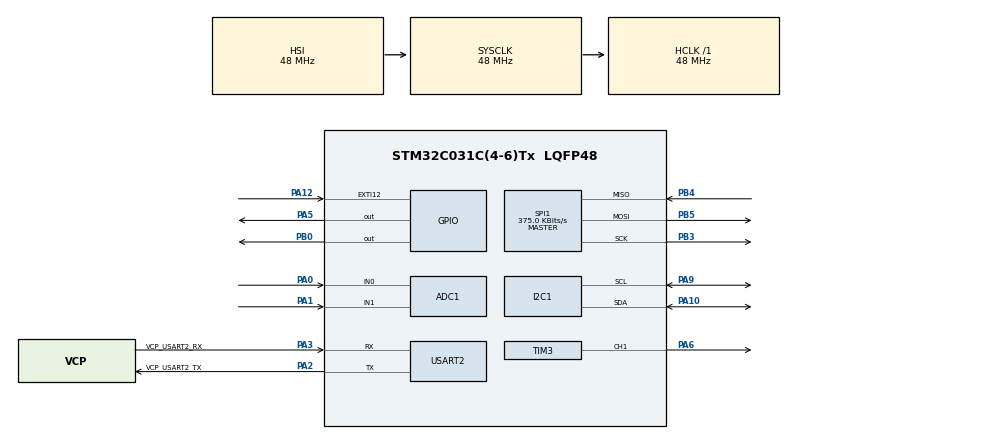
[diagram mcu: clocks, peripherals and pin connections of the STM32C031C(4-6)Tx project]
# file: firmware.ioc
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ADC1.Channel-0\#ChannelRegularConversion=ADC_CHANNEL_0
ADC1.NbrOfConversionFlag=1
ADC1.OffsetNumber-0\#ChannelRegularConversion=ADC_OFFSET_NONE
ADC1.Rank-0\#ChannelRegularConversion=1
ADC1.SamplingTime-0\#ChannelRegularConversion=ADC_SAMPLINGTIME_COMMON_1
ADC1.SelectedChannel=ADC_CHANNEL_0|ADC_CHANNEL_1
ADC1.Sequencer=FULLY_CONFIGURABLE
ADC1.master=1
I2C1.Timing=0x10805D88
Mcu.Family=STM32C0
Mcu.Name=STM32C031C(4-6)Tx
Mcu.Package=LQFP48
NVIC.EXTI4_15_IRQn=true\:0\:0\:false\:false\:true\:true\:true\:true
PA0.Mode=IN0
PA0.Signal=ADC1_IN0
PA1.Mode=IN1
PA1.Signal=ADC1_IN1
PA10.Mode=I2C
PA10.Signal=I2C1_SDA
PA12\ [PA10].GPIO_ModeDefaultEXTI=GPIO_MODE_IT_FALLING
PA12\ [PA10].GPIO_PuPd=GPIO_PULLUP
PA12\ [PA10].Signal=GPXTI12
PA13.GPIO_Label=DEBUG_SWDIO
PA13.Signal=DEBUG_SWDIO
PA14-BOOT0.GPIO_Label=DEBUG_SWCLK
PA14-BOOT0.Signal=DEBUG_SWCLK
PA2.GPIO_Label=VCP_USART2_TX
PA2.Mode=Asynchronous
PA2.Signal=USART2_TX
PA3.GPIO_Label=VCP_USART2_RX
PA3.Mode=Asynchronous
PA3.Signal=USART2_RX
PA5.Signal=GPIO_Output
PA6.Signal=S_TIM3_CH1
PA9.Mode=I2C
PA9.Signal=I2C1_SCL
PB0.PinState=GPIO_PIN_SET
PB0.Signal=GPIO_Output
PB3.Mode=Full_Duplex_Master
PB3.Signal=SPI1_SCK
PB4.Mode=Full_Duplex_Master
PB4.Signal=SPI1_MISO
PB5.Mode=Full_Duplex_Master
PB5.Signal=SPI1_MOSI
ProjectManager.HeapSize=0x200
ProjectManager.StackSize=0x400
ProjectManager.TargetToolchain=Makefile
RCC.ADCFreq_Value=48000000
RCC.AHBFreq_Value=48000000
RCC.CortexFreq_Value=48000000
RCC.EXTERNAL_CLOCK_VALUE=12288000
RCC.HCLKFreq_Value=48000000
RCC.HSE_VALUE=48000000
RCC.HSISYSCLKDivider=RCC_HSI_DIV1
RCC.HSI_VALUE=48000000
RCC.LSE_VALUE=32768
RCC.SYSCLKFreq_VALUE=48000000
SH.S_TIM3_CH1.0=TIM3_CH1,PWM Generation1 CH1
SPI1.BaudRatePrescaler=SPI_BAUDRATEPRESCALER_128
SPI1.CalculateBaudRate=375.0 KBits/s
SPI1.Direction=SPI_DIRECTION_2LINES
SPI1.Mode=SPI_MODE_MASTER
SPI1.NSSPMode=SPI_NSS_PULSE_DISABLE
SPI1.VirtualType=VM_MASTER
TIM3.Channel-PWM\ Generation1\ CH1=TIM_CHANNEL_1
TIM3.Period=249
TIM3.Prescaler=47
TIM3.Pulse-PWM\ Generation1\ CH1=125
USART2.VirtualMode-Asynchronous=VM_ASYNC
board=NUCLEO-C031C6

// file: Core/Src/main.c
/* USER CODE BEGIN Header */
/**
  ******************************************************************************
  * @file           : main.c
  * @brief          : Main program body
  ******************************************************************************
  * @attention
  *
  * Copyright (c) 2026 STMicroelectronics.
  * All rights reserved.
  *
  * This software is licensed under terms that can be found in the LICENSE file
  * in the root directory of this software component.
  * If no LICENSE file comes with this software, it is provided AS-IS.
  *
  ******************************************************************************
  */
/* USER CODE END Header */
#include "main.h"

/* USER CODE BEGIN Includes */
#include <stdio.h>
/* USER CODE END Includes */

/* USER CODE BEGIN PD */
#define LED_PORT        GPIOA
#define LED_PIN         GPIO_PIN_5
#define BTN_PORT        GPIOA
#define BTN_PIN         GPIO_PIN_12
#define BTN_SETTLE_MS   50U
#define SD_CS_PORT      GPIOB
#define SD_CS_PIN       GPIO_PIN_0
#define I2C_TIMEOUT_MS  20U
/* USER CODE END PD */

ADC_HandleTypeDef hadc1;

I2C_HandleTypeDef hi2c1;

SPI_HandleTypeDef hspi1;

TIM_HandleTypeDef htim3;

UART_HandleTypeDef huart2;

/* USER CODE BEGIN PV */
static volatile uint8_t  button_flag;
static volatile uint32_t button_last_ms;
/* USER CODE END PV */

void SystemClock_Config(void);
static void MX_GPIO_Init(void);
static void MX_ADC1_Init(void);
static void MX_I2C1_Init(void);
static void MX_SPI1_Init(void);
static void MX_TIM3_Init(void);
static void MX_USART2_UART_Init(void);

/* USER CODE BEGIN 0 */
int _write(int file, char *ptr, int len)
{
  (void)file;
  HAL_UART_Transmit(&huart2, (uint8_t *)ptr, (uint16_t)len, HAL_MAX_DELAY);
  return len;
}

static void print_status(const char *name, int ready)
{
  printf("%-6s %s\r\n", name, ready ? "HAL_OK" : "FAIL");
}

static void i2c_reset(void)
{
  HAL_I2C_DeInit(&hi2c1);
  MX_I2C1_Init();
}

static void i2c_settle(void)
{
  for (volatile uint32_t i = 0; i < 1500U; i++) { __NOP(); }
}

static int i2c_wait(uint32_t flag)
{
  uint32_t t0 = HAL_GetTick();
  while ((I2C1->ISR & flag) == 0U)
  {
    if (I2C1->ISR & I2C_ISR_NACKF)
    {
      I2C1->ICR = I2C_ICR_NACKCF | I2C_ICR_STOPCF;
      return 0;
    }
    if ((HAL_GetTick() - t0) > I2C_TIMEOUT_MS) { return 0; }
  }
  return 1;
}

static int i2c_write(uint16_t addr, const uint8_t *data, uint8_t n)
{
  I2C1->ICR = I2C_ICR_NACKCF | I2C_ICR_STOPCF;
  I2C1->ISR = I2C_ISR_TXE;
  I2C1->CR2 = ((uint32_t)addr & 0xFEU) | ((uint32_t)n << I2C_CR2_NBYTES_Pos)
              | I2C_CR2_AUTOEND | I2C_CR2_START;

  for (uint8_t i = 0; i < n; i++)
  {
    if (!i2c_wait(I2C_ISR_TXIS)) { i2c_reset(); return 0; }
    i2c_settle();
    I2C1->TXDR = data[i];
  }
  if (!i2c_wait(I2C_ISR_STOPF)) { i2c_reset(); return 0; }
  I2C1->ICR = I2C_ICR_STOPCF;
  return 1;
}

static void i2c_scan(void)
{
  uint8_t zero = 0x00;

  printf("i2c scan:");
  for (uint8_t a = 8; a < 120; a++)
  {
    if (i2c_write((uint16_t)(a << 1), &zero, 1)) { printf(" 0x%02X", a); }
  }
  printf("\r\n");
}

static void spi_ping(void)
{
  uint8_t tx[8], rx[8];

  for (uint8_t i = 0; i < sizeof tx; i++) { tx[i] = 0xFF; }

  HAL_GPIO_WritePin(SD_CS_PORT, SD_CS_PIN, GPIO_PIN_RESET);
  HAL_StatusTypeDef st = HAL_SPI_TransmitReceive(&hspi1, tx, rx, sizeof tx, 50);
  HAL_GPIO_WritePin(SD_CS_PORT, SD_CS_PIN, GPIO_PIN_SET);

  printf("spi ping: %s\r\n", st == HAL_OK ? "ok" : "fail");
}

static uint16_t adc_read(uint32_t channel)
{
  ADC_ChannelConfTypeDef ch = {0};
  uint16_t value = 0;

  ch.Channel      = channel;
  ch.Rank         = ADC_REGULAR_RANK_1;
  ch.SamplingTime = ADC_SAMPLINGTIME_COMMON_1;
  if (HAL_ADC_ConfigChannel(&hadc1, &ch) != HAL_OK) { return 0; }

  if (HAL_ADC_Start(&hadc1) != HAL_OK) { return 0; }
  if (HAL_ADC_PollForConversion(&hadc1, 10) == HAL_OK)
  {
    value = (uint16_t)HAL_ADC_GetValue(&hadc1);
  }
  HAL_ADC_Stop(&hadc1);
  return value;
}
/* USER CODE END 0 */

int main(void)
{

  /* MCU Configuration--------------------------------------------------------*/

  /* Reset of all peripherals, Initializes the Flash interface and the Systick. */
  HAL_Init();

  /* Configure the system clock */
  SystemClock_Config();

  /* Initialize all configured peripherals */
  MX_GPIO_Init();
  MX_ADC1_Init();
  MX_I2C1_Init();
  MX_SPI1_Init();
  MX_TIM3_Init();
  MX_USART2_UART_Init();
  /* USER CODE BEGIN 2 */
  printf("\r\nNUCLEO-C031C6, SYSCLK %lu Hz\r\n", (unsigned long)SystemCoreClock);
  print_status("USART2", HAL_UART_GetState(&huart2) == HAL_UART_STATE_READY);
  print_status("I2C1",   HAL_I2C_GetState(&hi2c1) == HAL_I2C_STATE_READY);
  print_status("SPI1",   HAL_SPI_GetState(&hspi1) == HAL_SPI_STATE_READY);
  print_status("ADC1",   (HAL_ADC_GetState(&hadc1) & HAL_ADC_STATE_READY) != 0U);
  print_status("TIM3",   HAL_TIM_PWM_GetState(&htim3) == HAL_TIM_STATE_READY);

  printf("hello from STM32\r\n");
  i2c_scan();
  spi_ping();

  uint32_t tick = 0;
  uint32_t next = HAL_GetTick();
  /* USER CODE END 2 */

  /* Infinite loop */
  while (1)
  {

    /* USER CODE BEGIN 3 */
    if (button_flag && HAL_GetTick() - button_last_ms >= BTN_SETTLE_MS)
    {
      button_flag = 0;
      if (HAL_GPIO_ReadPin(BTN_PORT, BTN_PIN) == GPIO_PIN_RESET)
      {
        printf("button pressed\r\n");
      }
    }

    if ((int32_t)(HAL_GetTick() - next) >= 0)
    {
      next += 1000;
      tick++;

      HAL_GPIO_TogglePin(LED_PORT, LED_PIN);
      printf("tick %lu  adc0=%u adc1=%u led=%s\r\n",
             (unsigned long)tick, adc_read(ADC_CHANNEL_0), adc_read(ADC_CHANNEL_1),
             HAL_GPIO_ReadPin(LED_PORT, LED_PIN) ? "on" : "off");

      if ((tick % 5U) == 0U)
      {
        i2c_scan();
        spi_ping();
      }
    }
  }
  /* USER CODE END 3 */
}

void SystemClock_Config(void)
{
  RCC_OscInitTypeDef RCC_OscInitStruct = {0};
  RCC_ClkInitTypeDef RCC_ClkInitStruct = {0};

  __HAL_FLASH_SET_LATENCY(FLASH_LATENCY_1);

  /** Initializes the RCC Oscillators according to the specified parameters
  * in the RCC_OscInitTypeDef structure.
  */
  RCC_OscInitStruct.OscillatorType = RCC_OSCILLATORTYPE_HSI;
  RCC_OscInitStruct.HSIState = RCC_HSI_ON;
  RCC_OscInitStruct.HSIDiv = RCC_HSI_DIV1;
  RCC_OscInitStruct.HSICalibrationValue = RCC_HSICALIBRATION_DEFAULT;
  if (HAL_RCC_OscConfig(&RCC_OscInitStruct) != HAL_OK)
  {
    Error_Handler();
  }

  /** Initializes the CPU, AHB and APB buses clocks
  */
  RCC_ClkInitStruct.ClockType = RCC_CLOCKTYPE_HCLK|RCC_CLOCKTYPE_SYSCLK
                              |RCC_CLOCKTYPE_PCLK1;
  RCC_ClkInitStruct.SYSCLKSource = RCC_SYSCLKSOURCE_HSI;
  RCC_ClkInitStruct.SYSCLKDivider = RCC_SYSCLK_DIV1;
  RCC_ClkInitStruct.AHBCLKDivider = RCC_HCLK_DIV1;
  RCC_ClkInitStruct.APB1CLKDivider = RCC_APB1_DIV1;

  if (HAL_RCC_ClockConfig(&RCC_ClkInitStruct, FLASH_LATENCY_1) != HAL_OK)
  {
    Error_Handler();
  }
}

static void MX_ADC1_Init(void)
{

  ADC_ChannelConfTypeDef sConfig = {0};

  /** Configure the global features of the ADC (Clock, Resolution, Data Alignment and number of conversion)
  */
  hadc1.Instance = ADC1;
  hadc1.Init.ClockPrescaler = ADC_CLOCK_SYNC_PCLK_DIV2;
  hadc1.Init.Resolution = ADC_RESOLUTION_12B;
  hadc1.Init.DataAlign = ADC_DATAALIGN_RIGHT;
  hadc1.Init.ScanConvMode = ADC_SCAN_DISABLE;
  hadc1.Init.EOCSelection = ADC_EOC_SINGLE_CONV;
  hadc1.Init.LowPowerAutoWait = DISABLE;
  hadc1.Init.LowPowerAutoPowerOff = DISABLE;
  hadc1.Init.ContinuousConvMode = DISABLE;
  hadc1.Init.NbrOfConversion = 1;
  hadc1.Init.DiscontinuousConvMode = DISABLE;
  hadc1.Init.ExternalTrigConv = ADC_SOFTWARE_START;
  hadc1.Init.ExternalTrigConvEdge = ADC_EXTERNALTRIGCONVEDGE_NONE;
  hadc1.Init.DMAContinuousRequests = DISABLE;
  hadc1.Init.Overrun = ADC_OVR_DATA_PRESERVED;
  hadc1.Init.SamplingTimeCommon1 = ADC_SAMPLETIME_1CYCLE_5;
  hadc1.Init.SamplingTimeCommon2 = ADC_SAMPLETIME_1CYCLE_5;
  hadc1.Init.OversamplingMode = DISABLE;
  hadc1.Init.TriggerFrequencyMode = ADC_TRIGGER_FREQ_HIGH;
  if (HAL_ADC_Init(&hadc1) != HAL_OK)
  {
    Error_Handler();
  }

  /** Configure Regular Channel
  */
  sConfig.Channel = ADC_CHANNEL_0;
  sConfig.Rank = ADC_REGULAR_RANK_1;
  sConfig.SamplingTime = ADC_SAMPLINGTIME_COMMON_1;
  if (HAL_ADC_ConfigChannel(&hadc1, &sConfig) != HAL_OK)
  {
    Error_Handler();
  }

}

static void MX_I2C1_Init(void)
{

  hi2c1.Instance = I2C1;
  hi2c1.Init.Timing = 0x10805D88;
  hi2c1.Init.OwnAddress1 = 0;
  hi2c1.Init.AddressingMode = I2C_ADDRESSINGMODE_7BIT;
  hi2c1.Init.DualAddressMode = I2C_DUALADDRESS_DISABLE;
  hi2c1.Init.OwnAddress2 = 0;
  hi2c1.Init.OwnAddress2Masks = I2C_OA2_NOMASK;
  hi2c1.Init.GeneralCallMode = I2C_GENERALCALL_DISABLE;
  hi2c1.Init.NoStretchMode = I2C_NOSTRETCH_DISABLE;
  if (HAL_I2C_Init(&hi2c1) != HAL_OK)
  {
    Error_Handler();
  }

  /** Configure Analogue filter
  */
  if (HAL_I2CEx_ConfigAnalogFilter(&hi2c1, I2C_ANALOGFILTER_ENABLE) != HAL_OK)
  {
    Error_Handler();
  }

  /** Configure Digital filter
  */
  if (HAL_I2CEx_ConfigDigitalFilter(&hi2c1, 0) != HAL_OK)
  {
    Error_Handler();
  }

}

static void MX_SPI1_Init(void)
{

  /* SPI1 parameter configuration*/
  hspi1.Instance = SPI1;
  hspi1.Init.Mode = SPI_MODE_MASTER;
  hspi1.Init.Direction = SPI_DIRECTION_2LINES;
  hspi1.Init.DataSize = SPI_DATASIZE_8BIT;
  hspi1.Init.CLKPolarity = SPI_POLARITY_LOW;
  hspi1.Init.CLKPhase = SPI_PHASE_1EDGE;
  hspi1.Init.NSS = SPI_NSS_SOFT;
  hspi1.Init.BaudRatePrescaler = SPI_BAUDRATEPRESCALER_128;
  hspi1.Init.FirstBit = SPI_FIRSTBIT_MSB;
  hspi1.Init.TIMode = SPI_TIMODE_DISABLE;
  hspi1.Init.CRCCalculation = SPI_CRCCALCULATION_DISABLE;
  hspi1.Init.CRCPolynomial = 7;
  hspi1.Init.CRCLength = SPI_CRC_LENGTH_DATASIZE;
  hspi1.Init.NSSPMode = SPI_NSS_PULSE_DISABLE;
  if (HAL_SPI_Init(&hspi1) != HAL_OK)
  {
    Error_Handler();
  }

}

static void MX_TIM3_Init(void)
{

  TIM_MasterConfigTypeDef sMasterConfig = {0};
  TIM_OC_InitTypeDef sConfigOC = {0};

  htim3.Instance = TIM3;
  htim3.Init.Prescaler = 47;
  htim3.Init.CounterMode = TIM_COUNTERMODE_UP;
  htim3.Init.Period = 249;
  htim3.Init.ClockDivision = TIM_CLOCKDIVISION_DIV1;
  htim3.Init.AutoReloadPreload = TIM_AUTORELOAD_PRELOAD_DISABLE;
  if (HAL_TIM_PWM_Init(&htim3) != HAL_OK)
  {
    Error_Handler();
  }
  sMasterConfig.MasterOutputTrigger = TIM_TRGO_RESET;
  sMasterConfig.MasterSlaveMode = TIM_MASTERSLAVEMODE_DISABLE;
  if (HAL_TIMEx_MasterConfigSynchronization(&htim3, &sMasterConfig) != HAL_OK)
  {
    Error_Handler();
  }
  sConfigOC.OCMode = TIM_OCMODE_PWM1;
  sConfigOC.Pulse = 125;
  sConfigOC.OCPolarity = TIM_OCPOLARITY_HIGH;
  sConfigOC.OCFastMode = TIM_OCFAST_DISABLE;
  if (HAL_TIM_PWM_ConfigChannel(&htim3, &sConfigOC, TIM_CHANNEL_1) != HAL_OK)
  {
    Error_Handler();
  }
  HAL_TIM_MspPostInit(&htim3);

}

static void MX_USART2_UART_Init(void)
{

  huart2.Instance = USART2;
  huart2.Init.BaudRate = 115200;
  huart2.Init.WordLength = UART_WORDLENGTH_8B;
  huart2.Init.StopBits = UART_STOPBITS_1;
  huart2.Init.Parity = UART_PARITY_NONE;
  huart2.Init.Mode = UART_MODE_TX_RX;
  huart2.Init.HwFlowCtl = UART_HWCONTROL_NONE;
  huart2.Init.OverSampling = UART_OVERSAMPLING_16;
  huart2.Init.OneBitSampling = UART_ONE_BIT_SAMPLE_DISABLE;
  huart2.Init.ClockPrescaler = UART_PRESCALER_DIV1;
  huart2.AdvancedInit.AdvFeatureInit = UART_ADVFEATURE_NO_INIT;
  if (HAL_UART_Init(&huart2) != HAL_OK)
  {
    Error_Handler();
  }

}

static void MX_GPIO_Init(void)
{
  GPIO_InitTypeDef GPIO_InitStruct = {0};

  /* GPIO Ports Clock Enable */
  __HAL_RCC_GPIOA_CLK_ENABLE();
  __HAL_RCC_GPIOB_CLK_ENABLE();

  /*Configure GPIO pin Output Level */
  HAL_GPIO_WritePin(GPIOA, GPIO_PIN_5, GPIO_PIN_RESET);

  /*Configure GPIO pin Output Level */
  HAL_GPIO_WritePin(GPIOB, GPIO_PIN_0, GPIO_PIN_SET);

  /*Configure GPIO pin : PA5 */
  GPIO_InitStruct.Pin = GPIO_PIN_5;
  GPIO_InitStruct.Mode = GPIO_MODE_OUTPUT_PP;
  GPIO_InitStruct.Pull = GPIO_NOPULL;
  GPIO_InitStruct.Speed = GPIO_SPEED_FREQ_LOW;
  HAL_GPIO_Init(GPIOA, &GPIO_InitStruct);

  /*Configure GPIO pin : PB0 */
  GPIO_InitStruct.Pin = GPIO_PIN_0;
  GPIO_InitStruct.Mode = GPIO_MODE_OUTPUT_PP;
  GPIO_InitStruct.Pull = GPIO_NOPULL;
  GPIO_InitStruct.Speed = GPIO_SPEED_FREQ_LOW;
  HAL_GPIO_Init(GPIOB, &GPIO_InitStruct);

  /*Configure GPIO pin : PA12 */
  GPIO_InitStruct.Pin = GPIO_PIN_12;
  GPIO_InitStruct.Mode = GPIO_MODE_IT_FALLING;
  GPIO_InitStruct.Pull = GPIO_PULLUP;
  HAL_GPIO_Init(GPIOA, &GPIO_InitStruct);

  /* EXTI interrupt init*/
  HAL_NVIC_SetPriority(EXTI4_15_IRQn, 0, 0);
  HAL_NVIC_EnableIRQ(EXTI4_15_IRQn);

}

/* USER CODE BEGIN 4 */
void HAL_GPIO_EXTI_Falling_Callback(uint16_t pin)
{
  if (pin == BTN_PIN)
  {
    button_last_ms = HAL_GetTick();
    button_flag = 1;
  }
}
/* USER CODE END 4 */

void Error_Handler(void)
{
  __disable_irq();
  while (1)
  {
  }
}
